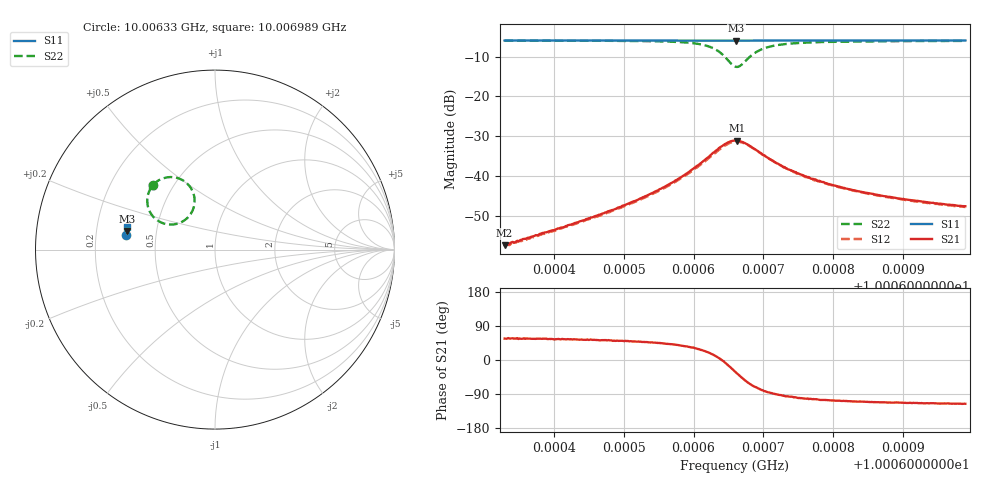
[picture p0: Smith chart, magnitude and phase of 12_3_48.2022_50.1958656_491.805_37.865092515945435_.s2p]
#  HZ  S  RI  R  50.00
! Rohde & Schwarz Vector Network Analyzer
! Rohde-Schwarz,ZNB20-2Port,1311601062101988,3.16
! Created: UTC 3/20/2024, 11:36:36 AM
! freq[Hz]  re:S11  im:S11  re:S21  im:S21  re:S12  im:S12  re:S22  im:S22
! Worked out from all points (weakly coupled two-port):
!   401 points, 10.00633 GHz to 10.006989 GHz, reference 50 ohm
!   highest |S21| = -31.10 dB at 10.006663 GHz (marker M1); lowest = -57.4 dB at 10.00633 GHz (marker M2)
!   lowest |S11| = -6.0 dB at 10.006661 GHz (marker M3), VSWR 3.00, Z = 16.8 + j4.66 ohm
!   |S11| at or under -10 dB: nowhere
!   |S22| runs from -12.6 to -6.0 dB; largest |S21 - S12| = 0.0026
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1.00063299e10  -0.4954 0.0833  0.00074 0.00112  0.000657 0.00114  -0.3451 0.3622
1.00064402e10  -0.4942 0.0908  0.0016 0.00221  0.00144 0.00223  -0.3296 0.3754
1.00064864e10  -0.4939 0.0939  0.00239 0.00295  0.00221 0.00298  -0.3185 0.3829
1.00065506e10  -0.4928 0.0982  0.00477 0.00477  0.0044 0.00484  -0.2897 0.3968
1.00065901e10  -0.4921 0.1009  0.0087 0.00629  0.00808 0.00648  -0.2483 0.4041
1.00066214e10  -0.4909 0.1032  0.0162 0.00584  0.0153 0.00658  -0.1783 0.3856
1.0006633e10  -0.4902 0.1035  0.0208 0.00334  0.0197 0.00443  -0.1424 0.3543
1.00066445e10  -0.4895 0.104  0.0249 -0.00254  0.024 -0.000709  -0.1154 0.2943
1.00066527e10  -0.4892 0.1039  0.0257 -0.00886  0.0254 -0.00649  -0.1185 0.2355
1.00066593e10  -0.4893 0.1037  0.0239 -0.0141  0.0243 -0.0118  -0.1421 0.1895
1.0006661e10  -0.4891 0.1037  0.0232 -0.0153  0.0239 -0.013  -0.1509 0.1796
1.00066626e10  -0.4893 0.1035  0.0225 -0.0165  0.0231 -0.0141  -0.1603 0.1707
1.00066675e10  -0.4894 0.1037  0.0194 -0.0189  0.0206 -0.0168  -0.1934 0.1503
1.00066774e10  -0.49 0.1038  0.0127 -0.0213  0.0141 -0.02  -0.2605 0.1402
1.0006689e10  -0.4904 0.1044  0.00669 -0.0202  0.008 -0.0196  -0.3186 0.1613
1.00067038e10  -0.4908 0.1056  0.00198 -0.0173  0.00313 -0.017  -0.3568 0.2
1.00067351e10  -0.4909 0.108  -0.0013 -0.0121  -0.00063 -0.0122  -0.3772 0.2589
1.00067697e10  -0.4906 0.1106  -0.00216 -0.00893  -0.00156 -0.0089  -0.376 0.293
1.00068207e10  -0.4902 0.1139  -0.0022 -0.0065  -0.00187 -0.00649  -0.3689 0.319
1.000688e10  -0.4893 0.118  -0.00206 -0.00508  -0.00177 -0.00509  -0.3613 0.3354
1.00069327e10  -0.4886 0.1212  -0.00192 -0.00428  -0.00165 -0.00429  -0.3559 0.3448
1.00069887e10  -0.488 0.1249  -0.00179 -0.00376  -0.00158 -0.00374  -0.3507 0.3522
